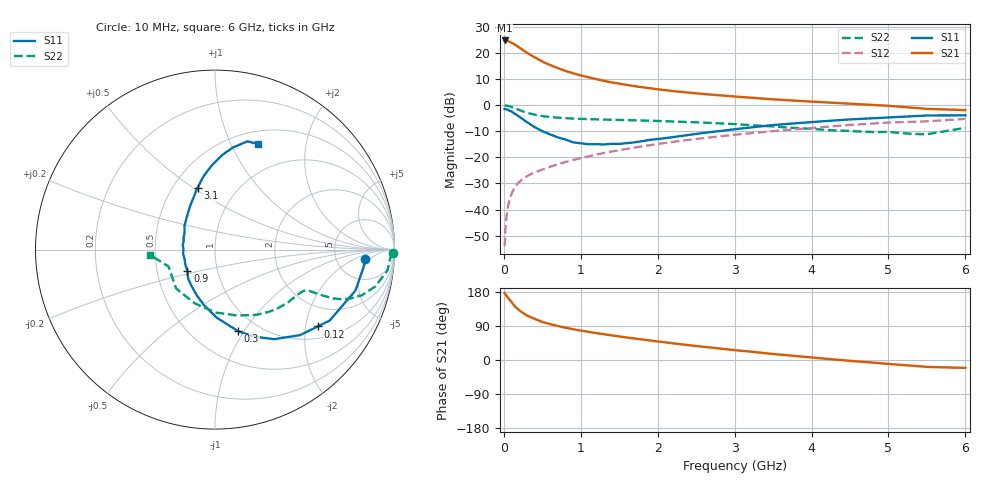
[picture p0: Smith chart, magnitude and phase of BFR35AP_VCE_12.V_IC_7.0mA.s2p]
! Infineon Technologies  Discrete & RF Semiconductors
! BFR35AP
! VCE =  12. V,  IC =  7.0 mA
! Common Emitter S-Parameters:  Nov 2015
# GHz  S  MA  R  50
!  f  S11  S21  S12  S22
! GHz  MAG  ANG  MAG  ANG  MAG  ANG  MAG  ANG
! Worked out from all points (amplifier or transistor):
!   210 points, 10 MHz to 6 GHz, reference 50 ohm
!   highest |S21| = 24.7 dB at 10 MHz (marker M1)
!   |S21| within 3 dB of that: start of sweep to 216.9 MHz
!   unconditionally stable (mu >= 1): 775.1 MHz to 2.823 GHz
!   at 185 MHz: K = 0.44, MSG = 26.1 dB, |S12| = -29.9 dB
!   at 1.52 GHz: K = 1.09, MAG = 10.7 dB, |S12| = -17.2 dB
!   at 6 GHz: K = 0.86, MSG = 1.7 dB, |S12| = -5.3 dB
!   S11 on the Smith chart (normalised r, x): 10 MHz: 10, -3; 120 MHz: 1.34, -2.34; 300 MHz: 0.80, -0.94; 900 MHz: 0.72, -0.18; 3.1 GHz: 0.66, +0.52; 6 GHz: 0.64, +1.27
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0.01  0.8362 -3.4  17.12 176.4  0.002 86.5  0.9892 -1.2
0.025  0.8291 -8.3  16.99 172.0  0.0052 81.9  0.9757 -3.5
0.05  0.8149 -16.3  16.87 165.2  0.0106 81.4  0.9677 -6.9
0.1  0.7511 -31.8  15.59 152.4  0.02 73.0  0.9171 -12.9
0.12  0.7147 -36.8  14.92 147.8  0.0231 70.7  0.8928 -14.6
0.15  0.6717 -45.2  14.12 140.1  0.0277 68.2  0.8579 -17.2
0.2  0.5987 -56.5  12.65 131.1  0.0338 65.4  0.7994 -20.0
0.24  0.5429 -63.9  11.44 125.3  0.0378 63.1  0.7597 -21.3
0.3  0.4722 -74.2  9.975 117.3  0.0434 61.7  0.7106 -22.5
0.4  0.3785 -88.7  8.135 108.1  0.0512 60.8  0.6509 -23.1
0.5  0.3159 -101.1  6.741 100.4  0.0584 61.1  0.6119 -23.4
0.6  0.2746 -111.6  5.788 94.7  0.0659 61.5  0.5894 -23.5
0.7  0.2414 -122.7  5.067 89.6  0.0732 62.2  0.5732 -23.7
0.9  0.1936 -142.4  4.03 81.0  0.0888 63.1  0.5491 -24.6
1.02  0.1838 -154.6  3.609 76.9  0.0981 63.3  0.5409 -25.5
1.4  0.1816 171.9  2.704 65.0  0.1286 62.8  0.523 -29.4
2.02  0.2252 137.2  1.976 48.4  0.1813 59.8  0.4943 -38.1
2.56  0.2877 117.8  1.64 35.6  0.2292 55.9  0.4629 -47.7
3.1  0.3573 105.7  1.416 24.2  0.2788 50.8  0.4213 -59.8
4.1  0.4832 90.5  1.138 4.8  0.3743 40.1  0.3411 -93.1
5.1  0.5882 78.5  0.939 -11.9  0.4662 26.6  0.296 -139.5
6  0.6353 68.1  0.798 -20.8  0.5408 15.8  0.366 -175.6
